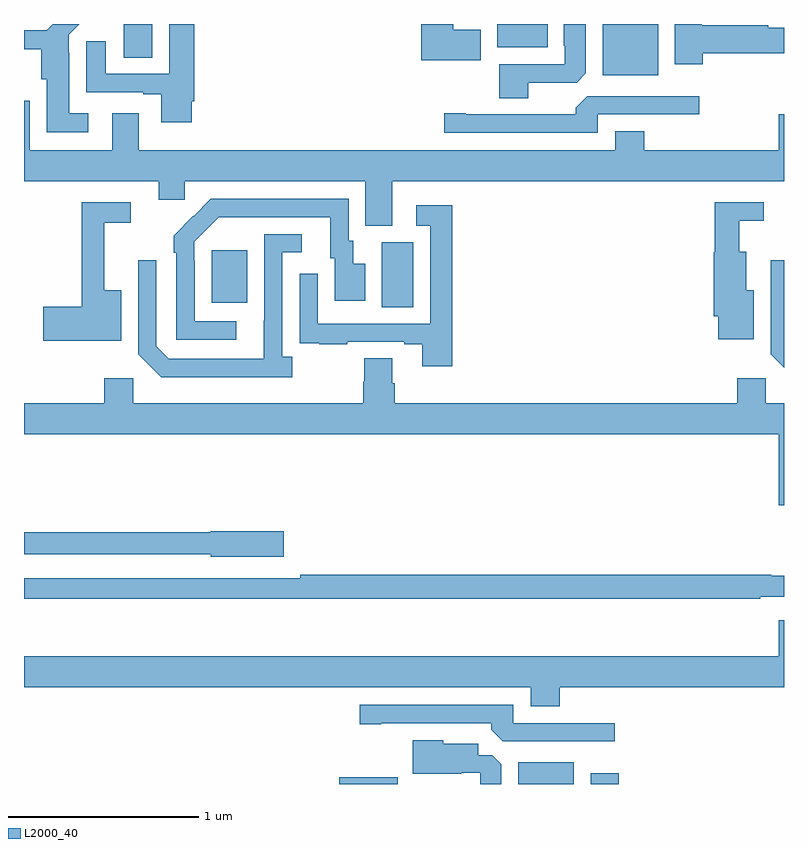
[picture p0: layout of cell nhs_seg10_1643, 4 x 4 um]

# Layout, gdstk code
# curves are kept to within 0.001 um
import gdstk
lib = gdstk.Library(unit=1e-6, precision=1e-09)
def R(c, l, rs):  # rectangles x0, y0, x1, y1
    for r in rs: c.add(gdstk.rectangle(r[:2], r[2:], *l))
def P(c, l, *ps):  # polygons
    for p in ps: c.add(gdstk.Polygon(p, *l))
L2000_40 = (2000, 40)

nhs_seg10_1643 = lib.new_cell('nhs_seg10_1643')
R(nhs_seg10_1643, L2000_40, [(198.659,1274.5,198.967,1274.536), (199.601,1274.5,199.894,1274.614), (199.982,1274.5,200.129,1274.557), (198.884,1277.008,199.048,1277.352), (197.987,1277.033,198.175,1277.308), (200.045,1278.23,200.338,1278.5), (197.525,1278.322,197.674,1278.5), (199.49,1278.377,199.756,1278.5)])
P(nhs_seg10_1643, L2000_40, [(197.338,1278.031),(197.239,1278.031),(197.239,1278.35),(197.235,1278.35),(197.235,1278.444),(197.291,1278.5),(197.152,1278.5),(197.12,1278.468),(197,1278.468),(197,1278.367),(197.09,1278.367),(197.09,1278.21),(197.12,1278.21),(197.12,1277.93),(197.338,1277.93)],
  [(197.884,1278.094),(197.897,1278.094),(197.897,1278.5),(197.765,1278.5),(197.765,1278.237),(197.431,1278.237),(197.431,1278.409),(197.327,1278.409),(197.327,1278.141),(197.627,1278.141),(197.627,1278.129),(197.723,1278.129),(197.723,1277.982),(197.884,1277.982)],
  [(199.405,1278.471),(199.258,1278.471),(199.258,1278.5),(199.091,1278.5),(199.091,1278.308),(199.405,1278.308)],
  [(200.573,1278.347),(201,1278.347),(201,1278.481),(200.918,1278.481),(200.918,1278.494),(200.568,1278.494),(200.568,1278.5),(200.426,1278.5),(200.426,1278.288),(200.573,1278.288)],
  [(199.654,1278.192),(199.908,1278.192),(199.957,1278.241),(199.957,1278.5),(199.841,1278.5),(199.841,1278.385),(199.845,1278.385),(199.845,1278.288),(199.502,1278.288),(199.502,1278.109),(199.654,1278.109)],
  [(200.019,1278.024),(200.554,1278.024),(200.554,1278.12),(199.965,1278.12),(199.904,1278.058),(199.904,1278.024),(199.324,1278.024),(199.324,1278.029),(199.212,1278.029),(199.212,1277.928),(200.019,1277.928)],
  [(198.937,1277.672),(201,1277.672),(201,1278.025),(200.972,1278.025),(200.972,1277.836),(200.264,1277.836),(200.264,1277.935),(200.111,1277.935),(200.111,1277.836),(197.605,1277.836),(197.605,1278.031),(197.465,1278.031),(197.465,1277.836),(197.031,1277.836),(197.031,1278.097),(197,1278.097),(197,1277.672),(197.708,1277.672),(197.708,1277.574),(197.847,1277.574),(197.847,1277.672),(198.797,1277.672),(198.797,1277.437),(198.937,1277.437)],
  [(198.118,1276.935),(197.898,1276.935),(197.898,1277.255),(197.895,1277.255),(197.895,1277.355),(198.024,1277.484),(198.611,1277.484),(198.611,1277.268),(198.635,1277.268),(198.635,1277.043),(198.796,1277.043),(198.796,1277.239),(198.733,1277.239),(198.733,1277.358),(198.708,1277.358),(198.708,1277.58),(197.984,1277.58),(197.787,1277.385),(197.787,1277.297),(197.802,1277.297),(197.802,1276.839),(198.118,1276.839)],
  [(197.512,1277.098),(197.423,1277.098),(197.423,1277.454),(197.563,1277.454),(197.563,1277.562),(197.305,1277.562),(197.305,1277.012),(197.1,1277.012),(197.1,1276.834),(197.512,1276.834)],
  [(200.842,1277.098),(200.8,1277.098),(200.8,1277.302),(200.764,1277.302),(200.764,1277.465),(200.893,1277.465),(200.893,1277.562),(200.635,1277.562),(200.635,1277.298),(200.63,1277.298),(200.63,1276.962),(200.654,1276.962),(200.654,1276.841),(200.842,1276.841)],
  [(199.253,1277.545),(199.065,1277.545),(199.065,1277.439),(199.137,1277.439),(199.137,1276.923),(198.546,1276.923),(198.546,1277.185),(198.45,1277.185),(198.45,1276.93),(198.451,1276.93),(198.451,1276.821),(198.553,1276.821),(198.553,1276.815),(198.701,1276.815),(198.701,1276.827),(199.001,1276.827),(199.001,1276.815),(199.097,1276.815),(199.097,1276.698),(199.253,1276.698)],
  [(198.412,1276.75),(198.36,1276.75),(198.36,1277.298),(198.463,1277.298),(198.463,1277.394),(198.264,1277.394),(198.263,1276.737),(197.763,1276.737),(197.697,1276.803),(197.697,1277.257),(197.601,1277.257),(197.601,1276.761),(197.722,1276.64),(198.412,1276.64)],
  [(201,1277.257),(200.931,1277.257),(200.931,1276.761),(201,1276.692)],
  [(200.972,1275.966),(201,1275.966),(201,1276.504),(200.904,1276.504),(200.904,1276.636),(200.753,1276.636),(200.753,1276.504),(198.95,1276.504),(198.95,1276.61),(198.937,1276.61),(198.937,1276.742),(198.79,1276.742),(198.79,1276.617),(198.785,1276.617),(198.785,1276.504),(197.574,1276.504),(197.574,1276.636),(197.423,1276.636),(197.423,1276.504),(197,1276.504),(197,1276.34),(200.972,1276.34)],
  [(198.367,1275.83),(197.982,1275.83),(197.982,1275.824),(197,1275.824),(197,1275.708),(197.982,1275.708),(197.982,1275.695),(198.367,1275.695)],
  [(200.876,1275.486),(201,1275.486),(201,1275.595),(200.932,1275.595),(200.932,1275.602),(198.454,1275.602),(198.454,1275.582),(197,1275.582),(197,1275.474),(200.876,1275.474)],
  [(199.82,1275.008),(201,1275.008),(201,1275.361),(200.972,1275.361),(200.972,1275.172),(197,1275.172),(197,1275.008),(199.667,1275.008),(199.667,1274.909),(199.82,1274.909)],
  [(200.11,1274.82),(199.575,1274.82),(199.575,1274.916),(198.768,1274.916),(198.768,1274.815),(198.88,1274.815),(198.88,1274.82),(199.46,1274.82),(199.46,1274.786),(199.521,1274.724),(200.11,1274.724)],
  [(199.513,1274.603),(199.464,1274.652),(199.39,1274.652),(199.39,1274.713),(199.206,1274.713),(199.206,1274.731),(199.046,1274.731),(199.046,1274.555),(199.301,1274.555),(199.301,1274.559),(199.401,1274.559),(199.401,1274.5),(199.513,1274.5)])

lib.write_gds('nhs_seg10_1643.gds')
